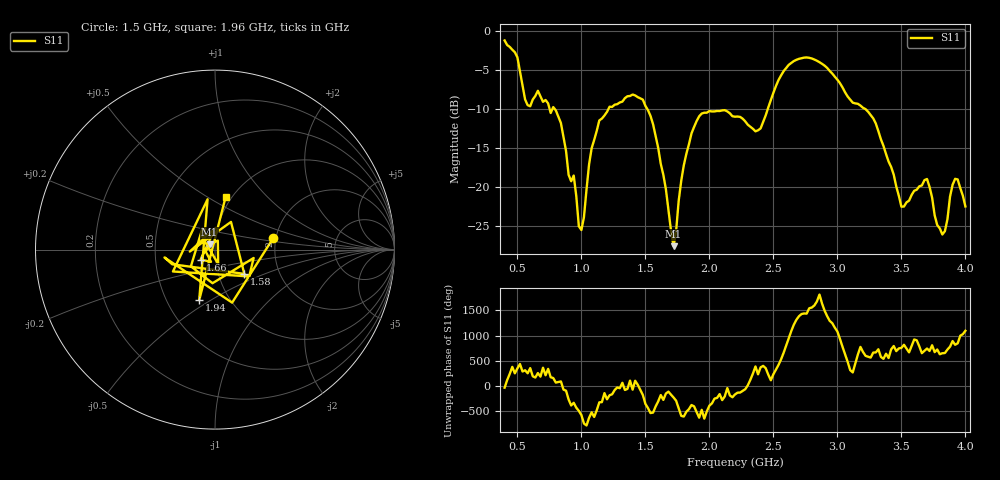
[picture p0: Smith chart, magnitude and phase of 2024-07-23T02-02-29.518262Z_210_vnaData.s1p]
!Created with skrf (http://scikit-rf.org).
# Hz S RI R 50.0
!freq ReS11 ImS11
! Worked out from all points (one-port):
!   181 points, 400 MHz to 4 GHz, reference 50 ohm
!   lowest |S11| = -27.5 dB at 1.72 GHz (marker M1), VSWR 1.09, Z = 47 + j2.72 ohm
!   |S11| at or under -10 dB: 791 MHz to 1.212 GHz (420.7 MHz wide, 42 % of centre); 1.514 GHz to 2.456 GHz (942.2 MHz wide, 47.5 % of centre); 3.216 GHz to end of sweep (the widest 3 of 4)
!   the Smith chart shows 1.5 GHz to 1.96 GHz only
!   S11 on the Smith chart (normalised r, x): 1.5 GHz: 1.93, +0.28; 1.58 GHz: 1.33, -0.38; 1.66 GHz: 0.85, -0.09; 1.94 GHz: 0.72, -0.45; 1.96 GHz: 0.94, +0.60
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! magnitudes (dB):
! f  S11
! 400 MHz  -1.3
! 500 MHz  -3.4
! 580 MHz  -9.5
! 660 MHz  -7.7
! 860 MHz  -13.6
! 1 GHz  -25.5
! 1.08 GHz  -15.0
! 1.14 GHz  -11.5
! 1.3 GHz  -9.2
! 1.5 GHz  -9.6
! 1.58 GHz  -13.5
! 1.66 GHz  -20.3
! 1.72 GHz  -27.5
! 1.76 GHz  -21.7
! 1.86 GHz  -13.1
! 1.94 GHz  -10.6
! 1.96 GHz  -10.5
! 2.2 GHz  -11.0
! 2.4 GHz  -12.5
! 2.66 GHz  -3.9
! 3.1 GHz  -8.8
! 3.28 GHz  -11.2
! 3.5 GHz  -22.5
! 3.56 GHz  -21.7
! 3.7 GHz  -19.0
! 3.82 GHz  -26.0
! 3.92 GHz  -18.9
! 4 GHz  -22.5
